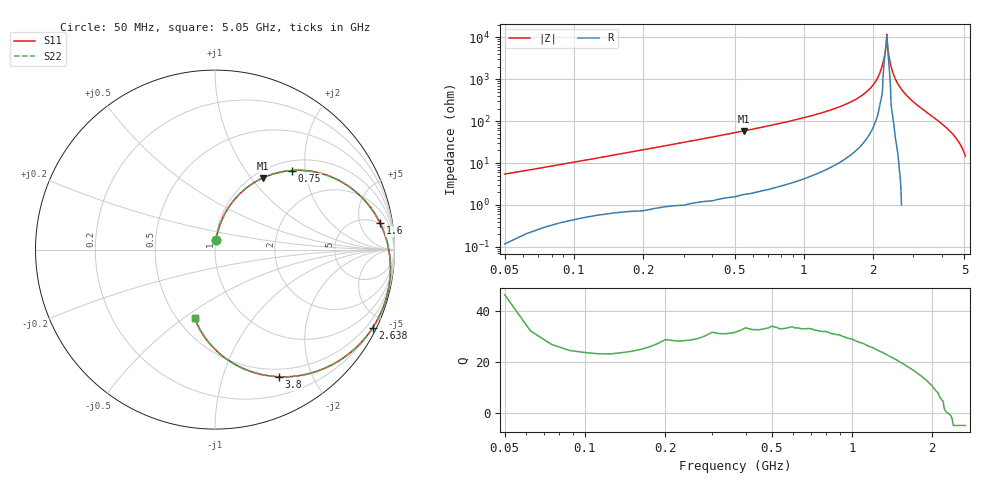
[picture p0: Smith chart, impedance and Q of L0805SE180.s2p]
! AVX Thin Film Operation		Date: May 2002
! Description: Accu-L® Series, Thin Film, SMD, RF Inductors
! Part Number: L0805180GEWTR
! 50 MHz  -  5.05 GHz
! Serial Measurements
# mhz S db R 50
!	S11		S21		S12		S22
!	dB	Phase	dB	Phase	dB	Phase	dB	Phase
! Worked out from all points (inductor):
!   401 points, 50 MHz to 5.05 GHz, reference 50 ohm
!   read as one part in series: L = 16.6 nH near 75 MHz
!   highest Q = 33.4 at 550 MHz (marker M1), where L = 16.9 nH
!   self-resonance near 2.275 GHz
!   S11 on the Smith chart (normalised r, x): 50 MHz: 1.01, +0.10; 750 MHz: 1.19, +1.69; 1.6 GHz: 5, +11; 2.638 GHz: 0.19, -4.26; 3.8 GHz: 0.40, -1.55; 5.05 GHz: 0.61, -0.55
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50  -25.68 84.0  -0.01 -3.2  -0.01 -3.2  -25.68 84.0
137.5  -17.47 79.1  -0.13 -8.5  -0.13 -8.5  -17.47 79.1
225  -13.37 74.2  -0.28 -13.7  -0.28 -13.7  -13.37 74.2
550  -6.35 56.2  -1.28 -31.9  -1.28 -31.9  -6.35 56.2
750  -4.23 45.8  -2.23 -42.2  -2.23 -42.2  -4.23 45.8
887.5  -3.20 39.1  -3.03 -48.8  -3.03 -48.8  -3.20 39.1
1262.5  -1.44 22.4  -5.86 -65.0  -5.86 -65.0  -1.44 22.4
1600  -0.61 9.0  -9.52 -77.7  -9.52 -77.7  -0.61 9.0
1725  -0.42 4.4  -11.33 -82.0  -11.30 -82.0  -0.42 4.4
1950  -0.20 -3.6  -15.87 -88.6  -15.90 -88.6  -0.20 -3.6
2100  -0.11 -8.8  -20.94 -91.5  -20.90 -91.5  -0.11 -8.8
2212.5  -0.08 -12.5  -28.12 -77.5  -28.10 -77.5  -0.08 -12.5
2275  -0.07 -14.6  -35.31 -17.9  -35.30 -17.9  -0.07 -14.6
2300  -0.07 -15.4  -41.60 6.0  -41.60 6.0  -0.07 -15.4
2400  -0.08 -18.7  -26.34 64.5  -26.30 64.5  -0.08 -18.7
2550  -0.13 -23.6  -18.90 65.0  -18.90 65.0  -0.13 -23.6
2637.5  -0.17 -26.4  -16.42 63.4  -16.40 63.4  -0.17 -26.4
2937.5  -0.42 -35.9  -11.20 55.7  -11.20 55.7  -0.42 -35.9
3387.5  -1.07 -50.1  -6.96 42.8  -6.96 42.8  -1.07 -50.1
3800  -2.00 -63.2  -4.55 30.7  -4.55 30.7  -2.00 -63.2
4225  -3.39 -77.1  -2.85 18.2  -2.85 18.2  -3.39 -77.1
5050  -7.99 -106.6  -0.91 -6.3  -0.91 -6.3  -7.99 -106.6
